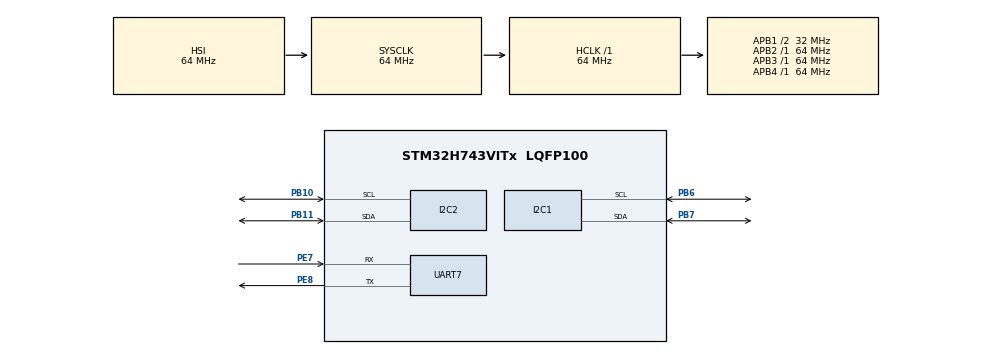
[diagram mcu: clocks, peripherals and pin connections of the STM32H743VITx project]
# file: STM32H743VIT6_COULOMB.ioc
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I2C1.Timing=0x00707CBB
I2C2.Timing=0x00707CBB
Mcu.Family=STM32H7
Mcu.Name=STM32H743VITx
Mcu.Package=LQFP100
NVIC.PriorityGroup=NVIC_PRIORITYGROUP_4
PA13\ (JTMS/SWDIO).Mode=JTAG_4_pins
PA13\ (JTMS/SWDIO).Signal=DEBUG_JTMS-SWDIO
PA14\ (JTCK/SWCLK).Mode=JTAG_4_pins
PA14\ (JTCK/SWCLK).Signal=DEBUG_JTCK-SWCLK
PA15\ (JTDI).Mode=JTAG_4_pins
PA15\ (JTDI).Signal=DEBUG_JTDI
PB10.Mode=I2C
PB10.Signal=I2C2_SCL
PB11.Mode=I2C
PB11.Signal=I2C2_SDA
PB3\ (JTDO/TRACESWO).Mode=JTAG_4_pins
PB3\ (JTDO/TRACESWO).Signal=DEBUG_JTDO-SWO
PB6.Mode=I2C
PB6.Signal=I2C1_SCL
PB7.Mode=I2C
PB7.Signal=I2C1_SDA
PE7.Mode=Asynchronous
PE7.Signal=UART7_RX
PE8.Mode=Asynchronous
PE8.Signal=UART7_TX
ProjectManager.HeapSize=0x200
ProjectManager.StackSize=0x400
ProjectManager.TargetToolchain=STM32CubeIDE
RCC.ADCFreq_Value=129000000
RCC.APB1Freq_Value=32000000
RCC.APB2Freq_Value=64000000
RCC.APB3Freq_Value=64000000
RCC.APB4Freq_Value=64000000
RCC.CortexFreq_Value=64000000
RCC.D2PPRE1=RCC_APB1_DIV2
RCC.HCLKFreq_Value=64000000
RCC.SYSCLKFreq_VALUE=64000000
RCC.USBFreq_Value=129000000
board=custom

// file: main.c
/* USER CODE BEGIN Header */
/**
  ******************************************************************************
  * @file           : main.c
  * @brief          : Main program body
  ******************************************************************************
  * @attention
  *
  * Copyright (c) 2022 STMicroelectronics.
  * All rights reserved.
  *
  * This software is licensed under terms that can be found in the LICENSE file
  * in the root directory of this software component.
  * If no LICENSE file comes with this software, it is provided AS-IS.
  *
  ******************************************************************************
  */
/* USER CODE END Header */
#include "main.h"

/* USER CODE BEGIN PD */
#define DBG_LOG(...) printf(__VA_ARGS__)
/* USER CODE END PD */

I2C_HandleTypeDef hi2c1;
I2C_HandleTypeDef hi2c2;

UART_HandleTypeDef huart7;

void SystemClock_Config(void);
static void MX_GPIO_Init(void);
static void MX_UART7_Init(void);
static void MX_I2C2_Init(void);
static void MX_I2C1_Init(void);
/* USER CODE BEGIN PFP */

int __io_putchar(int ch)
{
	ITM_SendChar(ch);
	return(ch);
}
/* USER CODE END PFP */

int main(void)
{

  /* MCU Configuration--------------------------------------------------------*/

  /* Reset of all peripherals, Initializes the Flash interface and the Systick. */
  HAL_Init();

  /* Configure the system clock */
  SystemClock_Config();

  /* Initialize all configured peripherals */
  MX_GPIO_Init();
  MX_UART7_Init();
  MX_I2C2_Init();
  MX_I2C1_Init();
  /* USER CODE BEGIN 2 */
  uint8_t success[] = "SUCCESS. Address has been recognized\r\n";
  uint8_t bad_result[] = "FAIL. Bad Result\r\n";
  uint8_t result;
  if ( HAL_I2C_Mem_Read(&hi2c1, 0x64 << 1, 0x01, 1, &result, 1, 10000) != 0 ){
	  if( HAL_I2C_Mem_Read(&hi2c1, 0x64, 0x01, 1, &result, 1, 10000) != 0 ){
		  uint8_t fail[] = "FAIL. Address not recognized\r\n";
		  HAL_UART_Transmit(&huart7, fail, sizeof(fail),10000);
	  }
	  else{
		  if(result != 0x3C){
			  HAL_UART_Transmit(&huart7, bad_result, sizeof(bad_result),10000);
		  }
		  else{
			  HAL_UART_Transmit(&huart7, success, sizeof(success),10000);
		  }
	  }
  }
  else{
	  if(result != 0x3C){
			  HAL_UART_Transmit(&huart7, bad_result, sizeof(bad_result),10000);
	  }
	  else{
		  HAL_UART_Transmit(&huart7, success, sizeof(success),10000);
	  }

  }

  /* USER CODE END 2 */

  /* Infinite loop */
  while (1)
  {

  }
}

void SystemClock_Config(void)
{
  RCC_OscInitTypeDef RCC_OscInitStruct = {0};
  RCC_ClkInitTypeDef RCC_ClkInitStruct = {0};

  /** Supply configuration update enable
  */
  HAL_PWREx_ConfigSupply(PWR_LDO_SUPPLY);

  /** Configure the main internal regulator output voltage
  */
  __HAL_PWR_VOLTAGESCALING_CONFIG(PWR_REGULATOR_VOLTAGE_SCALE3);

  while(!__HAL_PWR_GET_FLAG(PWR_FLAG_VOSRDY)) {}

  /** Initializes the RCC Oscillators according to the specified parameters
  * in the RCC_OscInitTypeDef structure.
  */
  RCC_OscInitStruct.OscillatorType = RCC_OSCILLATORTYPE_HSI;
  RCC_OscInitStruct.HSIState = RCC_HSI_DIV1;
  RCC_OscInitStruct.HSICalibrationValue = RCC_HSICALIBRATION_DEFAULT;
  RCC_OscInitStruct.PLL.PLLState = RCC_PLL_NONE;
  if (HAL_RCC_OscConfig(&RCC_OscInitStruct) != HAL_OK)
  {
    Error_Handler();
  }

  /** Initializes the CPU, AHB and APB buses clocks
  */
  RCC_ClkInitStruct.ClockType = RCC_CLOCKTYPE_HCLK|RCC_CLOCKTYPE_SYSCLK
                              |RCC_CLOCKTYPE_PCLK1|RCC_CLOCKTYPE_PCLK2
                              |RCC_CLOCKTYPE_D3PCLK1|RCC_CLOCKTYPE_D1PCLK1;
  RCC_ClkInitStruct.SYSCLKSource = RCC_SYSCLKSOURCE_HSI;
  RCC_ClkInitStruct.SYSCLKDivider = RCC_SYSCLK_DIV1;
  RCC_ClkInitStruct.AHBCLKDivider = RCC_HCLK_DIV1;
  RCC_ClkInitStruct.APB3CLKDivider = RCC_APB3_DIV1;
  RCC_ClkInitStruct.APB1CLKDivider = RCC_APB1_DIV2;
  RCC_ClkInitStruct.APB2CLKDivider = RCC_APB2_DIV1;
  RCC_ClkInitStruct.APB4CLKDivider = RCC_APB4_DIV1;

  if (HAL_RCC_ClockConfig(&RCC_ClkInitStruct, FLASH_LATENCY_1) != HAL_OK)
  {
    Error_Handler();
  }
}

static void MX_I2C1_Init(void)
{

  hi2c1.Instance = I2C1;
  hi2c1.Init.Timing = 0x00707CBB;
  hi2c1.Init.OwnAddress1 = 0;
  hi2c1.Init.AddressingMode = I2C_ADDRESSINGMODE_7BIT;
  hi2c1.Init.DualAddressMode = I2C_DUALADDRESS_DISABLE;
  hi2c1.Init.OwnAddress2 = 0;
  hi2c1.Init.OwnAddress2Masks = I2C_OA2_NOMASK;
  hi2c1.Init.GeneralCallMode = I2C_GENERALCALL_DISABLE;
  hi2c1.Init.NoStretchMode = I2C_NOSTRETCH_DISABLE;
  if (HAL_I2C_Init(&hi2c1) != HAL_OK)
  {
    Error_Handler();
  }

  /** Configure Analogue filter
  */
  if (HAL_I2CEx_ConfigAnalogFilter(&hi2c1, I2C_ANALOGFILTER_ENABLE) != HAL_OK)
  {
    Error_Handler();
  }

  /** Configure Digital filter
  */
  if (HAL_I2CEx_ConfigDigitalFilter(&hi2c1, 0) != HAL_OK)
  {
    Error_Handler();
  }

}

static void MX_I2C2_Init(void)
{

  hi2c2.Instance = I2C2;
  hi2c2.Init.Timing = 0x00707CBB;
  hi2c2.Init.OwnAddress1 = 0;
  hi2c2.Init.AddressingMode = I2C_ADDRESSINGMODE_7BIT;
  hi2c2.Init.DualAddressMode = I2C_DUALADDRESS_DISABLE;
  hi2c2.Init.OwnAddress2 = 0;
  hi2c2.Init.OwnAddress2Masks = I2C_OA2_NOMASK;
  hi2c2.Init.GeneralCallMode = I2C_GENERALCALL_DISABLE;
  hi2c2.Init.NoStretchMode = I2C_NOSTRETCH_DISABLE;
  if (HAL_I2C_Init(&hi2c2) != HAL_OK)
  {
    Error_Handler();
  }

  /** Configure Analogue filter
  */
  if (HAL_I2CEx_ConfigAnalogFilter(&hi2c2, I2C_ANALOGFILTER_ENABLE) != HAL_OK)
  {
    Error_Handler();
  }

  /** Configure Digital filter
  */
  if (HAL_I2CEx_ConfigDigitalFilter(&hi2c2, 0) != HAL_OK)
  {
    Error_Handler();
  }

}

static void MX_UART7_Init(void)
{

  huart7.Instance = UART7;
  huart7.Init.BaudRate = 115200;
  huart7.Init.WordLength = UART_WORDLENGTH_8B;
  huart7.Init.StopBits = UART_STOPBITS_1;
  huart7.Init.Parity = UART_PARITY_NONE;
  huart7.Init.Mode = UART_MODE_TX_RX;
  huart7.Init.HwFlowCtl = UART_HWCONTROL_NONE;
  huart7.Init.OverSampling = UART_OVERSAMPLING_16;
  huart7.Init.OneBitSampling = UART_ONE_BIT_SAMPLE_DISABLE;
  huart7.Init.ClockPrescaler = UART_PRESCALER_DIV1;
  huart7.AdvancedInit.AdvFeatureInit = UART_ADVFEATURE_NO_INIT;
  if (HAL_UART_Init(&huart7) != HAL_OK)
  {
    Error_Handler();
  }
  if (HAL_UARTEx_SetTxFifoThreshold(&huart7, UART_TXFIFO_THRESHOLD_1_8) != HAL_OK)
  {
    Error_Handler();
  }
  if (HAL_UARTEx_SetRxFifoThreshold(&huart7, UART_RXFIFO_THRESHOLD_1_8) != HAL_OK)
  {
    Error_Handler();
  }
  if (HAL_UARTEx_DisableFifoMode(&huart7) != HAL_OK)
  {
    Error_Handler();
  }

}

static void MX_GPIO_Init(void)
{

  /* GPIO Ports Clock Enable */
  __HAL_RCC_GPIOE_CLK_ENABLE();
  __HAL_RCC_GPIOB_CLK_ENABLE();
  __HAL_RCC_GPIOA_CLK_ENABLE();

}

void Error_Handler(void)
{
  __disable_irq();
  while (1)
  {
  }
}
